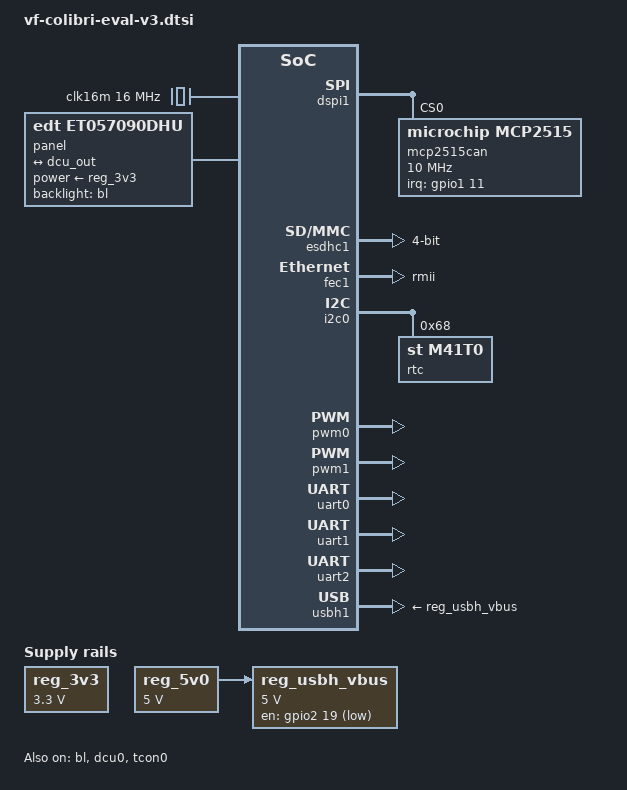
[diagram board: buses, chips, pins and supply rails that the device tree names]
// SPDX-License-Identifier: GPL-2.0+ OR MIT
/*
 * Copyright 2014-2020 Toradex
 */

/ {
	chosen {
		stdout-path = "serial0:115200n8";
	};

	clk16m: clk16m {
		compatible = "fixed-clock";
		#clock-cells = <0>;
		clock-frequency = <16000000>;
	};

	panel: panel {
		compatible = "edt,et057090dhu";
		backlight = <&bl>;
		power-supply = <&reg_3v3>;

		port {
			panel_in: endpoint {
				remote-endpoint = <&dcu_out>;
			};
		};
	};

	reg_3v3: regulator-3v3 {
		compatible = "regulator-fixed";
		regulator-name = "3.3V";
		regulator-min-microvolt = <3300000>;
		regulator-max-microvolt = <3300000>;
	};

	reg_5v0: regulator-5v0 {
		compatible = "regulator-fixed";
		regulator-name = "5V";
		regulator-min-microvolt = <5000000>;
		regulator-max-microvolt = <5000000>;
	};

	reg_usbh_vbus: regulator-usbh-vbus {
		compatible = "regulator-fixed";
		pinctrl-names = "default";
		pinctrl-0 = <&pinctrl_usbh1_reg>;
		regulator-name = "VCC_USB[1-4]";
		regulator-min-microvolt = <5000000>;
		regulator-max-microvolt = <5000000>;
		gpio = <&gpio2 19 GPIO_ACTIVE_LOW>; /* USBH_PEN resp. USBH_P_EN */
		vin-supply = <&reg_5v0>;
	};
};

&bl {
	brightness-levels = <0 4 8 16 32 64 128 255>;
	default-brightness-level = <6>;
	power-supply = <&reg_3v3>;
	status = "okay";
};

&dcu0 {
	pinctrl-names = "default";
	pinctrl-0 = <&pinctrl_dcu0_1>;
	status = "okay";

	port {
		dcu_out: endpoint {
			remote-endpoint = <&panel_in>;
		};
	};
};

&dspi1 {
	status = "okay";

	mcp2515can: can@0 {
		compatible = "microchip,mcp2515";
		pinctrl-names = "default";
		pinctrl-0 = <&pinctrl_can_int>;
		reg = <0>;
		clocks = <&clk16m>;
		spi-max-frequency = <10000000>;
		interrupt-parent = <&gpio1>;
		interrupts = <11 IRQ_TYPE_EDGE_RISING>;
	};
};

&esdhc1 {
	pinctrl-names = "default";
	pinctrl-0 = <&pinctrl_esdhc1>;
	bus-width = <4>;
	status = "okay";
};

&fec1 {
	phy-mode = "rmii";
	pinctrl-names = "default";
	pinctrl-0 = <&pinctrl_fec1>;
	status = "okay";
};

&i2c0 {
	status = "okay";

	/* M41T0M6 real time clock on carrier board */
	rtc: rtc@68 {
		compatible = "st,m41t0";
		reg = <0x68>;
	};
};

&pwm0 {
	status = "okay";
};

&pwm1 {
	status = "okay";
};

&reg_module_3v3 {
	vin-supply = <&reg_3v3>;
};

&tcon0 {
	status = "okay";
};

&uart0 {
	status = "okay";
};

&uart1 {
	status = "okay";
};

&uart2 {
	status = "okay";
};

&usbh1 {
	vbus-supply = <&reg_usbh_vbus>;
};

&iomuxc {
	pinctrl_can_int: can_intgrp {
		fsl,pins = <
			VF610_PAD_PTB21__GPIO_43	0x22ed
		>;
	};
};
